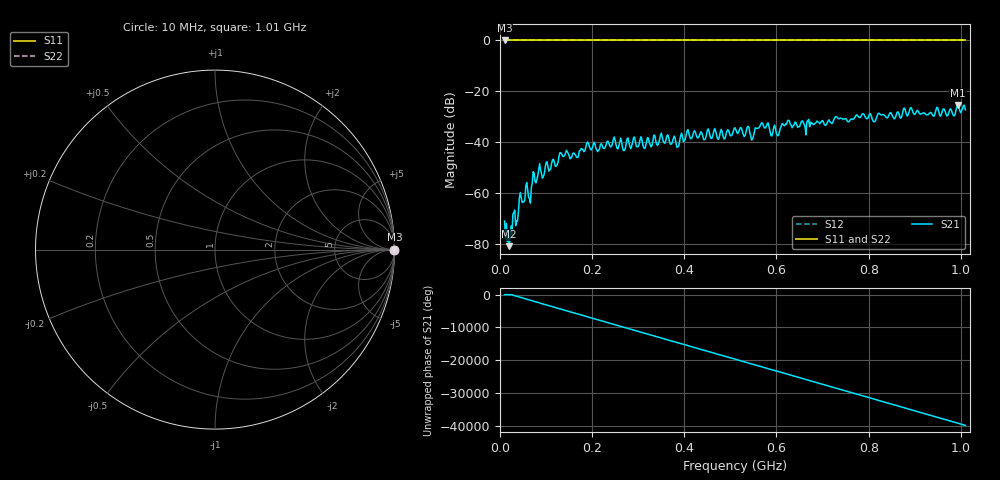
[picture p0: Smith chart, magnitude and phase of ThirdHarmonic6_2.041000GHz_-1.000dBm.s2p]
! 8/17/2025 12:28:53 AM
! C:\ANRITSUVNA\TEMP\TEMP.S2P
! CHANNEL.1
! TR.MEASUREMENT
! RAW.DATA
! RF.CORRECTION.OFF
! AVERAGING.OFF
! IF.BANDWIDTH: 5KHZ
! SWEEPTYPE:  FREQ.SWEEP(Linear)
! Reference Plane Port Info
! PORT:  PORT1  PORT2
! DISTANCE:  0  m  0  m
! TIME:  0  s  0  s
! PHASE.OFFSET:  0  deg.  0  deg.
! LOSS:  0  dB  0  dB
! REF.LOSS:  0  dB  0  dB
! REF.FREQ:  0  Hz  0  Hz
! Power Info
! POWER:  -20  dBm  -20  dBm
! EFF.POWER:  -20  dBm  -20  dBm
! SOURCE.ATTEN:  0  dB  0  dB
! TEST.ATTEN:  0  dB  0  dB
# GHZ S RI R 50.0
! FREQ.GHZ  S11RE  S11IM  S21RE  S21IM  S12RE  S12IM  S22RE  S22IM
!; PortSelection: Port_12
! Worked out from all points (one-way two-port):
!   501 points, 10 MHz to 1.01 GHz, reference 50 ohm
!   highest |S21| = -25.32 dB at 994 MHz (marker M1); lowest = -80.8 dB at 20 MHz (marker M2)
!   lowest |S11| = 0.0 dB at 10 MHz (marker M3)
!   |S11| at or under -10 dB: nowhere
!   |S22| runs from 0.0 to 0.0 dB; largest |S21 - S12| = 1
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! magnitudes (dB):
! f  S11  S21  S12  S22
! 10 MHz  0.0  -71.0  0.0  0.0
! 20 MHz  0.0  -80.8  0.0  0.0
! 28 MHz  0.0  -68.2  0.0  0.0
! 38 MHz  0.0  -70.9  0.0  0.0
! 44 MHz  0.0  -59.8  0.0  0.0
! 66 MHz  0.0  -63.9  0.0  0.0
! 72 MHz  0.0  -51.6  0.0  0.0
! 86 MHz  0.0  -48.4  0.0  0.0
! 178 MHz  0.0  -42.6  0.0  0.0
! 344 MHz  0.0  -40.6  0.0  0.0
! 386 MHz  0.0  -41.8  0.0  0.0
! 408 MHz  0.0  -35.1  0.0  0.0
! 510 MHz  0.0  -34.3  0.0  0.0
! 538 MHz  0.0  -33.7  0.0  0.0
! 548 MHz  0.0  -38.7  0.0  0.0
! 568 MHz  0.0  -32.3  0.0  0.0
! 604 MHz  0.0  -37.4  0.0  0.0
! 624 MHz  0.0  -31.6  0.0  0.0
! 678 MHz  0.0  -32.5  0.0  0.0
! 844 MHz  0.0  -29.3  0.0  0.0
! 994 MHz  0.0  -25.3  0.0  0.0
! 1.01 GHz  0.0  -27.3  0.0  0.0
